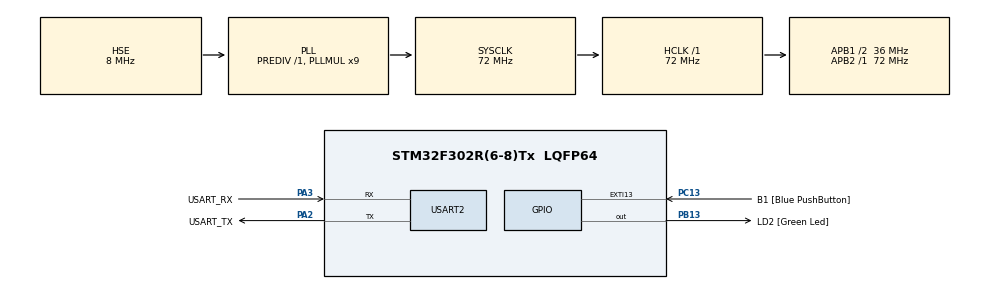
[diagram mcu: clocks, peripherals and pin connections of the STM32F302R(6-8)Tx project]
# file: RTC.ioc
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Mcu.Family=STM32F3
Mcu.Name=STM32F302R(6-8)Tx
Mcu.Package=LQFP64
NVIC.PriorityGroup=NVIC_PRIORITYGROUP_0
NVIC.RTC_Alarm_IRQn=true\:0\:0\:false\:false\:true\:true\:true
PA13.GPIO_Label=TMS
PA13.Mode=Serial_Wire
PA13.Signal=SYS_JTMS-SWDIO
PA14.GPIO_Label=TCK
PA14.Mode=Serial_Wire
PA14.Signal=SYS_JTCK-SWCLK
PA2.GPIO_Label=USART_TX
PA2.GPIO_Mode=GPIO_MODE_AF_PP
PA2.GPIO_PuPd=GPIO_NOPULL
PA2.GPIO_Speed=GPIO_SPEED_FREQ_LOW
PA2.Mode=Asynchronous
PA2.Signal=USART2_TX
PA3.GPIO_Label=USART_RX
PA3.GPIO_Mode=GPIO_MODE_AF_PP
PA3.GPIO_PuPd=GPIO_NOPULL
PA3.GPIO_Speed=GPIO_SPEED_FREQ_LOW
PA3.Mode=Asynchronous
PA3.Signal=USART2_RX
PB13.GPIO_Label=LD2 [Green Led]
PB13.Signal=GPIO_Output
PB3.GPIO_Label=SWO
PB3.Mode=Trace_Asynchronous_SW
PB3.Signal=SYS_JTDO-TRACESWO
PC13.GPIO_Label=B1 [Blue PushButton]
PC13.GPIO_ModeDefaultEXTI=GPIO_MODE_IT_FALLING
PC13.Signal=GPXTI13
PC14\ -\ OSC32_IN.Mode=LSE-External-Oscillator
PC14\ -\ OSC32_IN.Signal=RCC_OSC32_IN
PC15\ -\ OSC32_OUT.Mode=LSE-External-Oscillator
PC15\ -\ OSC32_OUT.Signal=RCC_OSC32_OUT
PF0-OSC_IN.Mode=HSE-External-Oscillator
PF0-OSC_IN.Signal=RCC_OSC_IN
PF1-OSC_OUT.Mode=HSE-External-Oscillator
PF1-OSC_OUT.Signal=RCC_OSC_OUT
ProjectManager.HeapSize=0x200
ProjectManager.StackSize=0x400
ProjectManager.TargetToolchain=STM32CubeIDE
RCC.AHBFreq_Value=72000000
RCC.APB1CLKDivider=RCC_HCLK_DIV2
RCC.APB1Freq_Value=36000000
RCC.APB1TimFreq_Value=72000000
RCC.APB2Freq_Value=72000000
RCC.APB2TimFreq_Value=72000000
RCC.CortexFreq_Value=72000000
RCC.HCLKFreq_Value=72000000
RCC.HSE_VALUE=8000000
RCC.HSI_VALUE=8000000
RCC.PLLM=8
RCC.PLLMUL=RCC_PLL_MUL9
RCC.PLLN=336
RCC.PLLP=RCC_PLLP_DIV4
RCC.PLLQ=7
RCC.PLLSourceVirtual=RCC_PLLSOURCE_HSE
RCC.SYSCLKFreq_VALUE=72000000
RCC.SYSCLKSourceVirtual=RCC_SYSCLKSOURCE_PLLCLK
RCC.USBFreq_Value=72000000
RTC.Alarm-Alarm\ A=RTC_ALARM_A
RTC.AlarmDateWeekDay-Alarm\ A=14
RTC.Date=15
RTC.HourFormat=RTC_HOURFORMAT_24
RTC.Hours=10
RTC.Hours_A-Alarm\ A=10
RTC.Minutes=13
RTC.Minutes_A-Alarm\ A=15
RTC.Seconds=50
RTC.WeekDay=RTC_WEEKDAY_WEDNESDAY
USART2.VirtualMode-Asynchronous=VM_ASYNC
VP_RTC_VS_RTC_Activate.Mode=RTC_Enabled
VP_RTC_VS_RTC_Alarm_A_Intern.Mode=Alarm A
VP_RTC_VS_RTC_Calendar.Mode=RTC_Calendar
board=NUCLEO-F302R8

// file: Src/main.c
/* USER CODE BEGIN Header */
/**
  ******************************************************************************
  * @file           : main.c
  * @brief          : Main program body
  ******************************************************************************
  * @attention
  *
  * <h2><center>&copy; Copyright (c) 2020 STMicroelectronics.
  * All rights reserved.</center></h2>
  *
  * This software component is licensed by ST under BSD 3-Clause license,
  * the "License"; You may not use this file except in compliance with the
  * License. You may obtain a copy of the License at:
  *                        opensource.org/licenses/BSD-3-Clause
  *
  ******************************************************************************
  */
/* USER CODE END Header */

#include "main.h"

/* USER CODE BEGIN PD */
char date[10];
char time[10];
/* USER CODE END PD */

RTC_HandleTypeDef hrtc;

UART_HandleTypeDef huart2;

void SystemClock_Config(void);
static void MX_GPIO_Init(void);
static void MX_RTC_Init(void);
static void MX_USART2_UART_Init(void);

/* USER CODE BEGIN 0 */
void set_time(void )
{
	RTC_TimeTypeDef sTime = {0};
	  RTC_DateTypeDef sDate = {0};
	  /** Initialize RTC and set the Time and Date
	    */
	    sTime.Hours = 0x10;
	    sTime.Minutes = 0x21;
	    sTime.Seconds = 0x50;
	    sTime.DayLightSaving = RTC_DAYLIGHTSAVING_NONE;
	    sTime.StoreOperation = RTC_STOREOPERATION_RESET;
	    if (HAL_RTC_SetTime(&hrtc, &sTime, RTC_FORMAT_BCD) != HAL_OK)
	    {
	      Error_Handler();
	    }
	    sDate.WeekDay = RTC_WEEKDAY_WEDNESDAY;
	    sDate.Month = RTC_MONTH_JANUARY;
	    sDate.Date = 0x15;
	    sDate.Year = 0x20;

	    if (HAL_RTC_SetDate(&hrtc, &sDate, RTC_FORMAT_BCD) != HAL_OK)
	    {
	      Error_Handler();
	    }
	    HAL_RTCEx_BKUPWrite(&hrtc, RTC_BKP_DR1,0x32f2);

}
void set_alarm(void)
{
	RTC_AlarmTypeDef sAlarm = {0};
	/** Enable the Alarm A
	  */
	  sAlarm.AlarmTime.Hours = 0x10;
	  sAlarm.AlarmTime.Minutes = 0x23;
	  sAlarm.AlarmTime.Seconds = 0x0;
	  sAlarm.AlarmTime.SubSeconds = 0x0;
	  sAlarm.AlarmTime.DayLightSaving = RTC_DAYLIGHTSAVING_NONE;
	  sAlarm.AlarmTime.StoreOperation = RTC_STOREOPERATION_RESET;
	  sAlarm.AlarmMask = RTC_ALARMMASK_NONE;
	  sAlarm.AlarmSubSecondMask = RTC_ALARMSUBSECONDMASK_ALL;
	  sAlarm.AlarmDateWeekDaySel = RTC_ALARMDATEWEEKDAYSEL_DATE;
	  sAlarm.AlarmDateWeekDay = 0x14;
	  sAlarm.Alarm = RTC_ALARM_A;
	  if (HAL_RTC_SetAlarm_IT(&hrtc, &sAlarm, RTC_FORMAT_BCD) != HAL_OK)
	  {
	    Error_Handler();
	  }
}

void get_time(void)
{
	RTC_DateTypeDef gDate={0};
	RTC_TimeTypeDef gTime={0};
	HAL_RTC_GetTime(&hrtc, &gTime, RTC_FORMAT_BIN);
	HAL_RTC_GetDate(&hrtc, &gDate, RTC_FORMAT_BIN);
	sprintf((char*)time,"%02d:%02d:%02d",gTime.Hours,gTime.Minutes,gTime.Seconds);
	sprintf((char*)date,"%02d/%02d/%02d",gDate.Date,gDate.Month, 2000+gDate.Year);

}
/* USER CODE END 0 */

int main(void)
{

  /* MCU Configuration--------------------------------------------------------*/

  /* Reset of all peripherals, Initializes the Flash interface and the Systick. */
  HAL_Init();

  /* Configure the system clock */
  SystemClock_Config();

  /* Initialize all configured peripherals */
  MX_GPIO_Init();
  MX_RTC_Init();
  MX_USART2_UART_Init();
  /* uSER CODE BEGIN 2 */
	//set_time();
   set_alarm();
  /* USER CODE END 2 */

  /* Infinite loop */
  while (1)
  {
     get_time();
     HAL_Delay(200);
  }
}

void SystemClock_Config(void)
{
  RCC_OscInitTypeDef RCC_OscInitStruct = {0};
  RCC_ClkInitTypeDef RCC_ClkInitStruct = {0};
  RCC_PeriphCLKInitTypeDef PeriphClkInit = {0};

  /** Initializes the CPU, AHB and APB busses clocks
  */
  RCC_OscInitStruct.OscillatorType = RCC_OSCILLATORTYPE_LSI|RCC_OSCILLATORTYPE_HSE;
  RCC_OscInitStruct.HSEState = RCC_HSE_ON;
  RCC_OscInitStruct.HSEPredivValue = RCC_HSE_PREDIV_DIV1;
  RCC_OscInitStruct.HSIState = RCC_HSI_ON;
  RCC_OscInitStruct.LSIState = RCC_LSI_ON;
  RCC_OscInitStruct.PLL.PLLState = RCC_PLL_ON;
  RCC_OscInitStruct.PLL.PLLSource = RCC_PLLSOURCE_HSE;
  RCC_OscInitStruct.PLL.PLLMUL = RCC_PLL_MUL9;
  if (HAL_RCC_OscConfig(&RCC_OscInitStruct) != HAL_OK)
  {
    Error_Handler();
  }
  /** Initializes the CPU, AHB and APB busses clocks
  */
  RCC_ClkInitStruct.ClockType = RCC_CLOCKTYPE_HCLK|RCC_CLOCKTYPE_SYSCLK
                              |RCC_CLOCKTYPE_PCLK1|RCC_CLOCKTYPE_PCLK2;
  RCC_ClkInitStruct.SYSCLKSource = RCC_SYSCLKSOURCE_PLLCLK;
  RCC_ClkInitStruct.AHBCLKDivider = RCC_SYSCLK_DIV1;
  RCC_ClkInitStruct.APB1CLKDivider = RCC_HCLK_DIV2;
  RCC_ClkInitStruct.APB2CLKDivider = RCC_HCLK_DIV1;

  if (HAL_RCC_ClockConfig(&RCC_ClkInitStruct, FLASH_LATENCY_2) != HAL_OK)
  {
    Error_Handler();
  }
  PeriphClkInit.PeriphClockSelection = RCC_PERIPHCLK_RTC;
  PeriphClkInit.RTCClockSelection = RCC_RTCCLKSOURCE_LSI;
  if (HAL_RCCEx_PeriphCLKConfig(&PeriphClkInit) != HAL_OK)
  {
    Error_Handler();
  }
}

static void MX_RTC_Init(void)
{

  /** Initialize RTC Only
  */
  hrtc.Instance = RTC;
  hrtc.Init.HourFormat = RTC_HOURFORMAT_24;
  hrtc.Init.AsynchPrediv = 127;
  hrtc.Init.SynchPrediv = 255;
  hrtc.Init.OutPut = RTC_OUTPUT_DISABLE;
  hrtc.Init.OutPutPolarity = RTC_OUTPUT_POLARITY_HIGH;
  hrtc.Init.OutPutType = RTC_OUTPUT_TYPE_OPENDRAIN;
  if (HAL_RTC_Init(&hrtc) != HAL_OK)
  {
    Error_Handler();
  }

  /** Initialize RTC and set the Time and Date
  */

}

static void MX_USART2_UART_Init(void)
{

  huart2.Instance = USART2;
  huart2.Init.BaudRate = 38400;
  huart2.Init.WordLength = UART_WORDLENGTH_8B;
  huart2.Init.StopBits = UART_STOPBITS_1;
  huart2.Init.Parity = UART_PARITY_NONE;
  huart2.Init.Mode = UART_MODE_TX_RX;
  huart2.Init.HwFlowCtl = UART_HWCONTROL_NONE;
  huart2.Init.OverSampling = UART_OVERSAMPLING_16;
  huart2.Init.OneBitSampling = UART_ONE_BIT_SAMPLE_DISABLE;
  huart2.AdvancedInit.AdvFeatureInit = UART_ADVFEATURE_NO_INIT;
  if (HAL_UART_Init(&huart2) != HAL_OK)
  {
    Error_Handler();
  }

}

static void MX_GPIO_Init(void)
{
  GPIO_InitTypeDef GPIO_InitStruct = {0};

  /* GPIO Ports Clock Enable */
  __HAL_RCC_GPIOC_CLK_ENABLE();
  __HAL_RCC_GPIOF_CLK_ENABLE();
  __HAL_RCC_GPIOA_CLK_ENABLE();
  __HAL_RCC_GPIOB_CLK_ENABLE();

  /*Configure GPIO pin Output Level */
  HAL_GPIO_WritePin(LD2_GPIO_Port, LD2_Pin, GPIO_PIN_RESET);

  /*Configure GPIO pin : B1_Pin */
  GPIO_InitStruct.Pin = B1_Pin;
  GPIO_InitStruct.Mode = GPIO_MODE_IT_FALLING;
  GPIO_InitStruct.Pull = GPIO_NOPULL;
  HAL_GPIO_Init(B1_GPIO_Port, &GPIO_InitStruct);

  /*Configure GPIO pin : LD2_Pin */
  GPIO_InitStruct.Pin = LD2_Pin;
  GPIO_InitStruct.Mode = GPIO_MODE_OUTPUT_PP;
  GPIO_InitStruct.Pull = GPIO_NOPULL;
  GPIO_InitStruct.Speed = GPIO_SPEED_FREQ_LOW;
  HAL_GPIO_Init(LD2_GPIO_Port, &GPIO_InitStruct);

}

void Error_Handler(void)
{
}

/************************ (C) COPYRIGHT STMicroelectronics *****END OF FILE****/
